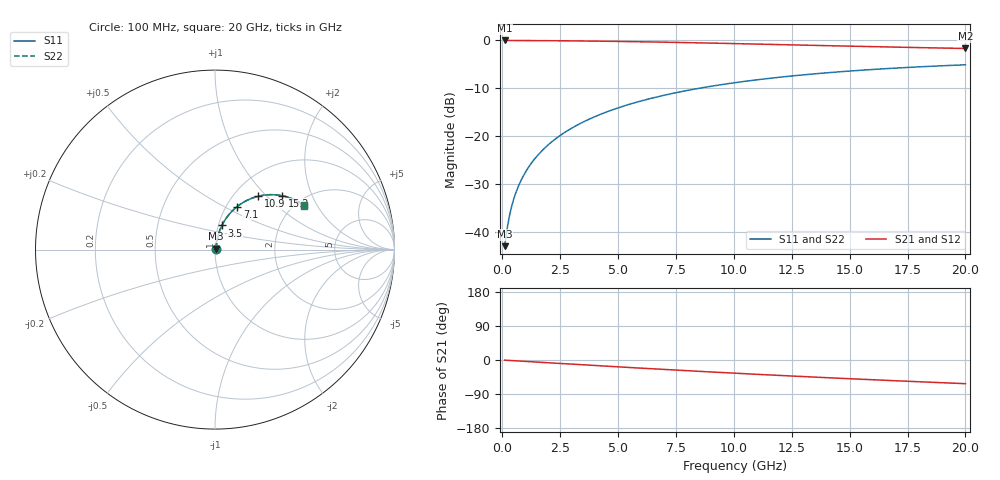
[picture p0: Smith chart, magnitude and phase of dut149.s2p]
! Touchstone file exported from HFSS 2026.1.0
!  File:  C:/ffzhzh/LocalFiles/Ansys_Project_Files/temp_train_BSMRDL_149_1782986540_45328.aedt
!  Generated:  06:04:13 PM Jul  2, 2026
!  Design:  BSMRDL
!  Project:  temp_train_BSMRDL_149_1782986540_45328
! Variables:
!  h_bsmrdl = 2.63um
!  h_ox = 20um
!  h_rdl = 5um
!  h_sub = 80um
!  h_tmrdl = 5um
!  h_tsv = 80um
!  h_via = 3um
!  l_bsmrdl = 947.67um
!  l_sub = 1347.67um
!  l_tmrdl = 200um
!  m_sub = 200um
!  pitch = 59.77um
!  r_tsv = 6um
!  s_tmrdl = 10um
!  w_bsmrdl = 24.14um
!  w_sub = 500um
!  w_tmrdl = 12um
!  x_tsv_center1 = 206um
!  x_tsv_center2 = 1177.81um
!  x_tsv_center3 = 1389.81um
!  x_tsv_center4 = 2361.62um
!  x_tsv_center5 = 2573.62um
!  x_tsv_center6 = 3545.43um
# GHz S MA R 50.000000
! Terminal data exported
! Port[1] = BSM_RDL1_1_T1
! Port[2] = BSM_RDL1_1_T2
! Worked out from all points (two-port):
!   200 points, 100 MHz to 20 GHz, reference 50 ohm
!   highest |S21| = -0.05 dB at 100 MHz (marker M1); lowest = -1.7 dB at 20 GHz (marker M2)
!   |S21| within 3 dB of the highest: start of sweep to end of sweep
!   lowest |S11| = -43.0 dB at 100 MHz (marker M3), VSWR 1.01, Z = 50.6 + j0.444 ohm
!   |S11| at or under -10 dB: start of sweep to 8.544 GHz
!   |S22| runs from -43.0 to -5.1 dB; largest |S21 - S12| = 4.1e-15
!   S11 on the Smith chart (normalised r, x): 100 MHz: 1.01, +0.01; 3.5 GHz: 1.04, +0.29; 7.1 GHz: 1.12, +0.58; 10.9 GHz: 1.29, +0.90; 15.2 GHz: 1.60, +1.25; 20 GHz: 2.21, +1.56
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0.1  0.007068 38.4  0.9945 -0.4  0.9945 -0.4  0.007068 38.4
! Gamma 0 0 0 0
! Port Impedance 50 0 50 0
0.2  0.01047 56.3  0.9943 -0.8  0.9943 -0.8  0.01047 56.3
0.3  0.01431 64.3  0.994 -1.1  0.994 -1.1  0.01431 64.3
0.4  0.01824 68.7  0.9937 -1.5  0.9937 -1.5  0.01824 68.7
0.5  0.02218 71.4  0.9934 -1.9  0.9934 -1.9  0.02218 71.4
0.6  0.02611 73.2  0.9931 -2.3  0.9931 -2.3  0.02611 73.2
0.8  0.03398 75.5  0.9926 -3.0  0.9926 -3.0  0.03398 75.5
1.1  0.04583 77.1  0.9919 -4.1  0.9919 -4.1  0.04583 77.1
1.6  0.06566 77.8  0.9906 -5.9  0.9906 -5.9  0.06565 77.8
2.1  0.08547 77.3  0.9889 -7.7  0.9889 -7.7  0.08547 77.3
2.7  0.1091 76.1  0.9864 -9.9  0.9864 -9.9  0.1091 76.1
3.5  0.1402 74.0  0.9823 -12.8  0.9823 -12.8  0.1402 74.0
5  0.1965 69.4  0.972 -18.1  0.972 -18.1  0.1965 69.5
6.8  0.26 63.7  0.9563 -24.3  0.9563 -24.3  0.26 63.7
7.1  0.27 62.7  0.9534 -25.3  0.9534 -25.3  0.27 62.7
8.5  0.3149 58.2  0.9391 -29.9  0.9391 -29.9  0.3149 58.3
10.1  0.3618 53.3  0.9215 -35.0  0.9215 -35.0  0.3618 53.3
10.9  0.3835 50.9  0.9125 -37.5  0.9125 -37.5  0.3835 50.9
13.4  0.4438 43.6  0.8844 -44.9  0.8844 -44.9  0.4438 43.6
15.2  0.4805 38.6  0.865 -50.0  0.865 -50.0  0.4805 38.7
16.7  0.5071 34.6  0.8497 -54.0  0.8497 -54.0  0.5071 34.7
20  0.5538 26.3  0.8203 -62.5  0.8203 -62.5  0.5538 26.4
